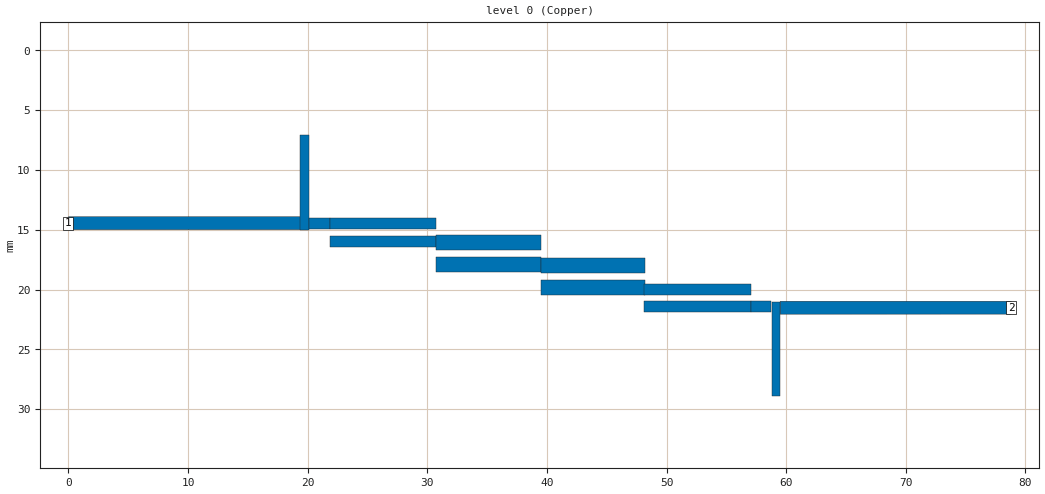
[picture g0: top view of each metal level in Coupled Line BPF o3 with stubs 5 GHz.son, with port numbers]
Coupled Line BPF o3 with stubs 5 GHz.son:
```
FTYP SONPROJ 19 ! Sonnet Project File
VER 18.53
HEADER
LIC SL65ec19c8
DAT 03/30/2024 16:44:07
BUILT_BY_CREATED example 18.53 10/19/2021 01:59:07
BUILT_BY_SAVED sonnet 18.53-Lite
MDATE 03/30/2024 16:40:17
HDATE 03/30/2024 16:40:17
END HEADER
DIM
ANG DEG
CAP PF
CON /OH
FREQ GHZ
IND NH
LNG MM
RES OH
END DIM
CONTROL
VARSWP
OPTIONS  -d
SPEED 0
CACHE_ABS 2
Q_ACC N
END CONTROL
GEO
DRP1 LEFT FIX 9.0805
DRP1 RIGHT FIX 9.398
DRP1 BOTTOM FIX 4.064
TMET "Free Space" 0 FREESPACE 376.7303136 0 0 0
BMET "Copper" 1 NOR 58000000 0.5 0.032 
MET "Copper" 1 NOR 58000000 0.5 0.032 
BOX 1 78.8035 32.5755 2000 960 20 0
      5 1 1 0 0 0 2 "Air"
      0.508 3.55 1 0.0021 0 0 2 "RO4003C"
TECHLAY METAL Copper <UNSPECIFIED> -2 -65534 
0 0 0 N 1269 1 1 100 100 0 0 0 Y
END
END
VALVAR L0 LNG 1.75 "Dim. Param."
VALVAR W1 LNG 0.93 "Dim. Param."
VALVAR L1 LNG 8.88 "Dim. Param."
VALVAR Lstub LNG 7.9 "Dim. Param."
VALVAR Wstub LNG 0.7 "Dim. Param."
VALVAR L2 LNG 8.71 "Dim. Param."
VALVAR W2 LNG 1.27 "Dim. Param."
DIM STD YDIR -1
POS -1.18034475 -0.3932884191
NOM 0.58
REF1 POLY 1116 1
1
REF2 POLY 1115 1
2
END
DIM STD YDIR -1
POS -1.18034475 -0.3932884191
NOM 0.52
REF1 POLY 1133 1
1
REF2 POLY 1134 1
2
END
DIM STD YDIR -1
POS 4.917840297 -1.808250068
NOM 1.07840397
REF1 POLY 509 1
3
REF2 POLY 509 1
0
END
DIM STD YDIR -1
POS -1.18034475 -0.3932884191
NOM 0.52
REF1 POLY 1101 1
1
REF2 POLY 1095 1
2
END
DIM STD YDIR -1
POS -1.18034475 -0.3932884191
NOM 0.58
REF1 POLY 1106 1
1
REF2 POLY 1107 1
2
END
LORGN 0 32.5755 U 
POR1 BOX
POLY 509 1
3
1 50 0 0 0 0 14.45237386 
POR1 BOX
POLY 686 1
3
2 50 0 0 0 78.8035 21.51143448 
NUM 14
0 5 0 N 509 1 1 100 100 0 0 0 Y
TLAYNAM Copper INH
0 13.91317187
19.38850649 13.91317187
19.37751652 14.98744204
0 14.99157584
0 13.91317187
END
0 5 0 N 686 1 1 100 100 0 0 0 Y
TLAYNAM Copper INH
78.8035 20.97291364
59.4947033 20.97291364
59.49872528 22.05407005
78.8035 22.04995532
78.8035 20.97291364
END
0 5 0 N 1087 1 1 100 100 0 0 0 Y
TLAYNAM Copper INH
19.396214 7.109959372
20.096214 7.109959372
20.096214 15.00995937
19.396214 15.00995937
19.396214 7.109959372
END
0 5 0 N 1092 1 1 100 100 0 0 0 Y
TLAYNAM Copper INH
20.109464 14.04142188
21.859464 14.04142188
21.859464 14.97142188
20.109464 14.97142188
20.109464 14.04142188
END
0 5 0 N 1095 1 1 100 100 0 0 0 Y
TLAYNAM Copper INH
21.8314105 14.04142188
30.7114105 14.04142188
30.7114105 14.97142188
21.8314105 14.97142188
21.8314105 14.04142188
END
0 5 0 N 1101 1 1 100 100 0 0 0 Y
TLAYNAM Copper INH
21.8314105 15.49142188
30.7114105 15.49142188
30.7114105 16.42142188
21.8314105 16.42142188
21.8314105 15.49142188
END
0 5 0 N 1106 1 1 100 100 0 0 0 Y
TLAYNAM Copper INH
30.758214 17.29269062
39.468214 17.29269062
39.468214 18.56269063
30.758214 18.56269063
30.758214 17.29269062
END
0 5 0 N 1107 1 1 100 100 0 0 0 Y
TLAYNAM Copper INH
30.758214 15.44269062
39.468214 15.44269062
39.468214 16.71269063
30.758214 16.71269063
30.758214 15.44269062
END
0 5 0 N 1115 1 1 100 100 0 0 0 Y
TLAYNAM Copper INH
39.4730175 17.32819063
48.1830175 17.32819063
48.1830175 18.59819063
39.4730175 18.59819063
39.4730175 17.32819063
END
0 5 0 N 1116 1 1 100 100 0 0 0 Y
TLAYNAM Copper INH
39.4730175 19.17819062
48.1830175 19.17819062
48.1830175 20.44819062
39.4730175 20.44819062
39.4730175 19.17819062
END
0 5 0 N 1133 1 1 100 100 0 0 0 Y
TLAYNAM Copper INH
48.1510175 20.96069062
57.0310175 20.96069062
57.0310175 21.89069062
48.1510175 21.89069062
48.1510175 20.96069062
END
0 5 0 N 1134 1 1 100 100 0 0 0 Y
TLAYNAM Copper INH
48.1510175 19.51069062
57.0310175 19.51069062
57.0310175 20.44069062
48.1510175 20.44069062
48.1510175 19.51069062
END
0 5 0 N 1253 1 1 100 100 0 0 0 Y
TLAYNAM Copper INH
57.015464 20.94344062
58.765464 20.94344062
58.765464 21.87344062
57.015464 21.87344062
57.015464 20.94344062
END
0 5 0 N 1256 1 1 100 100 0 0 0 Y
TLAYNAM Copper INH
58.8054645 20.99733124
59.5054645 20.99733124
59.5054645 28.89733124
58.8054645 28.89733124
58.8054645 20.99733124
END
END GEO
OPT
MAX 100
END OPT
VARSWP
SWPVARS ON
ENABLED Y
FREQ Y AY ABS_ENTRY 2.0 8.0 -1 300 
VAR L0 N 14.2875 14.2875 UNDEF
VAR L0 N 1.7999964 1.7999964 UNDEF
VAR W2 N 2.3495 2.3495 UNDEF
VAR W2 N 0.8255 0.8255 UNDEF
VAR Wstub N 0.762 0.762 UNDEF
VAR Lstub N 3.1115 3.1115 UNDEF
VAR L2 N 5.461 5.461 UNDEF
VAR L2 N 8.85 8.85 UNDEF
VAR L1 N 8.85 8.85 UNDEF
VAR L1 N 10.6213935 10.6213935 UNDEF
VAR W1 N 0.99 0.99 UNDEF
END
END VARSWP
TRANSLATOR
END TRANSLATOR
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```
